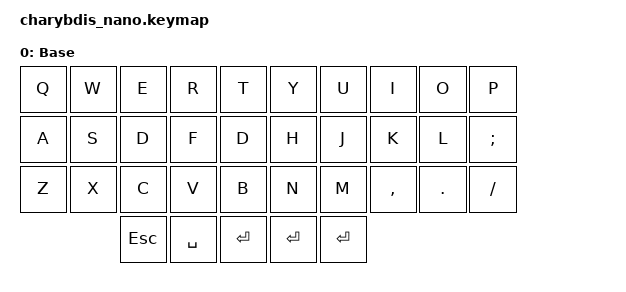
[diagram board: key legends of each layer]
#include <dt-bindings/zmk/mouse.h>
#include <behaviors/mouse_keys.dtsi>
#include <behaviors.dtsi>
#include <dt-bindings/zmk/bt.h>
#include <dt-bindings/zmk/keys.h>

#define BASE 0
#define NUFU 1
#define SYM 2
#define NAV 3
#define MED 4
#define POI 5
#define SCR 6
#define SNI 7

&sl {
  release-after-ms = <250>;
};

&mt {
    tapping-term-ms = <200>;
    require-prior-idle-ms = <150>;
};

/ {
    chosen { zmk,matrix_transform = &five_column_transform; };

    keymap {
        compatible = "zmk,keymap";
        Base {
            label = "Base";
            bindings = <
              &kp       Q  &kp       W  &kp        E  &kp        R  &kp T        &kp Y  &kp        U  &kp        I  &kp       O  &kp               P  
              &kp       A  &kp       S  &kp        D  &kp        F  &kp D        &kp H  &kp        J  &kp        K  &kp       L  &kp SEMICOLON
              &kp       Z  &kp       X  &kp        C  &kp        V  &kp B        &kp N  &kp        M  &kp    COMMA  &kp     DOT  &kp SLASH
                                        &kp ESC  &kp SPACE  &kp ENTER     &kp ENTER &kp ENTER
            >;
        };

    };
};
